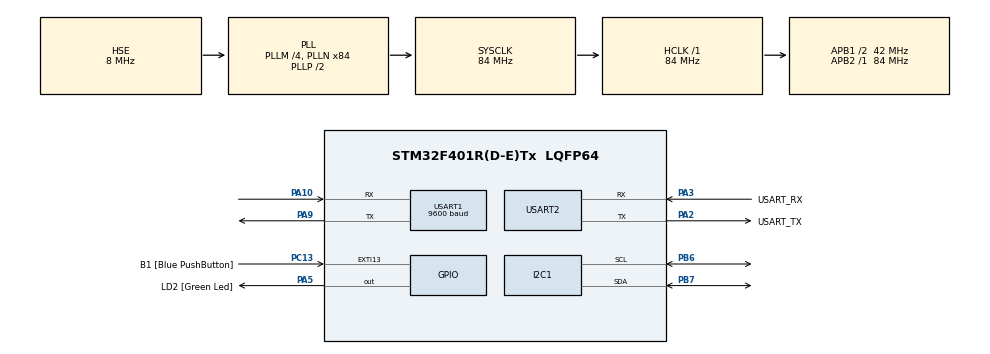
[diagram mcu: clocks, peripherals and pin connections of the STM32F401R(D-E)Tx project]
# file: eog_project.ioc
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Mcu.Family=STM32F4
Mcu.Name=STM32F401R(D-E)Tx
Mcu.Package=LQFP64
NVIC.PriorityGroup=NVIC_PRIORITYGROUP_4
NVIC.USART1_IRQn=true\:0\:0\:false\:false\:true\:true\:true\:true
PA10.Mode=Asynchronous
PA10.Signal=USART1_RX
PA13.GPIO_Label=TMS
PA13.Mode=Trace_Asynchronous_SW
PA13.Signal=SYS_JTMS-SWDIO
PA14.GPIO_Label=TCK
PA14.Mode=Trace_Asynchronous_SW
PA14.Signal=SYS_JTCK-SWCLK
PA2.GPIO_Label=USART_TX
PA2.GPIO_Mode=GPIO_MODE_AF_PP
PA2.GPIO_PuPd=GPIO_NOPULL
PA2.GPIO_Speed=GPIO_SPEED_FREQ_LOW
PA2.Mode=Asynchronous
PA2.Signal=USART2_TX
PA3.GPIO_Label=USART_RX
PA3.GPIO_Mode=GPIO_MODE_AF_PP
PA3.GPIO_PuPd=GPIO_NOPULL
PA3.GPIO_Speed=GPIO_SPEED_FREQ_LOW
PA3.Mode=Asynchronous
PA3.Signal=USART2_RX
PA5.GPIO_Label=LD2 [Green Led]
PA5.GPIO_Mode=GPIO_MODE_OUTPUT_PP
PA5.GPIO_PuPd=GPIO_NOPULL
PA5.GPIO_Speed=GPIO_SPEED_FREQ_LOW
PA5.Signal=GPIO_Output
PA9.Mode=Asynchronous
PA9.Signal=USART1_TX
PB3.GPIO_Label=SWO
PB3.Mode=Trace_Asynchronous_SW
PB3.Signal=SYS_JTDO-SWO
PB6.Mode=I2C
PB6.Signal=I2C1_SCL
PB7.Mode=I2C
PB7.Signal=I2C1_SDA
PC13-ANTI_TAMP.GPIO_Label=B1 [Blue PushButton]
PC13-ANTI_TAMP.GPIO_ModeDefaultEXTI=GPIO_MODE_IT_FALLING
PC13-ANTI_TAMP.GPIO_PuPd=GPIO_NOPULL
PC13-ANTI_TAMP.Signal=GPXTI13
PC14-OSC32_IN.Signal=RCC_OSC32_IN
PC15-OSC32_OUT.Signal=RCC_OSC32_OUT
PH0\ -\ OSC_IN.Mode=HSE-External-Clock-Source
PH0\ -\ OSC_IN.Signal=RCC_OSC_IN
PH1\ -\ OSC_OUT.Mode=HSE-External-Clock-Source
PH1\ -\ OSC_OUT.Signal=RCC_OSC_OUT
ProjectManager.HeapSize=0x200
ProjectManager.StackSize=0x400
ProjectManager.TargetToolchain=STM32CubeIDE
RCC.48MHZClocksFreq_Value=24000000
RCC.AHBFreq_Value=84000000
RCC.APB1CLKDivider=RCC_HCLK_DIV2
RCC.APB1Freq_Value=42000000
RCC.APB1TimFreq_Value=84000000
RCC.APB2Freq_Value=84000000
RCC.APB2TimFreq_Value=84000000
RCC.CortexFreq_Value=84000000
RCC.HCLKFreq_Value=84000000
RCC.HSE_VALUE=8000000
RCC.HSI_VALUE=16000000
RCC.PLLM=4
RCC.PLLN=84
RCC.PLLQ=7
RCC.PLLSourceVirtual=RCC_PLLSOURCE_HSE
RCC.SYSCLKFreq_VALUE=84000000
RCC.SYSCLKSource=RCC_SYSCLKSOURCE_PLLCLK
RCC.VCOOutputFreq_Value=168000000
USART1.BaudRate=9600
USART1.VirtualMode=VM_ASYNC
USART2.VirtualMode=VM_ASYNC
board=NUCLEO-F401RE

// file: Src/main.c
/* USER CODE BEGIN Header */
/**
  ******************************************************************************
  * @file           : main.c
  * @brief          : Main program body
  ******************************************************************************
  * @attention
  *
  * Copyright (c) 2026 STMicroelectronics.
  * All rights reserved.
  *
  * This software is licensed under terms that can be found in the LICENSE file
  * in the root directory of this software component.
  * If no LICENSE file comes with this software, it is provided AS-IS.
  *
  ******************************************************************************
  */
/* USER CODE END Header */
#include "main.h"

/* USER CODE BEGIN Includes */
#include <string.h>
#include <stdio.h>
#include <stdlib.h>
/* USER CODE END Includes */

/* USER CODE BEGIN PD */
#define ADS1115_ADDR     (0x48 << 1)
#define ADS_REG_CONV     0x00
#define ADS_REG_CONFIG   0x01
#define ADS_CONFIG_MSB   0xC3
#define ADS_CONFIG_LSB   0x83
#define ADS_FS_MV        4096.0f
#define CMD_BUF_SIZE     32
#define CMD_IDLE_MS      100
/* USER CODE END PD */

I2C_HandleTypeDef hi2c1;

UART_HandleTypeDef huart1;
UART_HandleTypeDef huart2;

/* USER CODE BEGIN PV */
static uint8_t rxByte;
static char cmdLine[CMD_BUF_SIZE];
static volatile uint8_t rxIdx = 0;
static volatile uint32_t lastRxTick = 0;
static volatile uint8_t cmdReady = 0;
/* USER CODE END PV */

void SystemClock_Config(void);
static void MX_GPIO_Init(void);
static void MX_USART2_UART_Init(void);
static void MX_I2C1_Init(void);
static void MX_USART1_UART_Init(void);
/* USER CODE BEGIN PFP */
static void BT_Send(const char *s);
static HAL_StatusTypeDef ADS1115_Read(int16_t *raw);
static void HandleCommand(const char *cmd);
/* USER CODE END PFP */

/* USER CODE BEGIN 0 */
static void BT_Send(const char *s)
{
  HAL_UART_Transmit(&huart1, (uint8_t*)s, strlen(s), 200);
}

static HAL_StatusTypeDef ADS1115_Read(int16_t *raw)
{
  uint8_t buf[3];
  HAL_StatusTypeDef ret;

  buf[0] = ADS_REG_CONFIG;
  buf[1] = ADS_CONFIG_MSB;
  buf[2] = ADS_CONFIG_LSB;
  ret = HAL_I2C_Master_Transmit(&hi2c1, ADS1115_ADDR, buf, 3, 100);
  if (ret != HAL_OK) return ret;

  HAL_Delay(10);

  buf[0] = ADS_REG_CONV;
  ret = HAL_I2C_Master_Transmit(&hi2c1, ADS1115_ADDR, buf, 1, 100);
  if (ret != HAL_OK) return ret;

  ret = HAL_I2C_Master_Receive(&hi2c1, ADS1115_ADDR, buf, 2, 100);
  if (ret != HAL_OK) return ret;

  *raw = (int16_t)(((uint16_t)buf[0] << 8) | buf[1]);
  return HAL_OK;
}

static void HandleCommand(const char *cmd)
{
  char out[64];
  int16_t raw;
  int32_t mv;

  if (strstr(cmd, "READ") != NULL) {
    if (ADS1115_Read(&raw) == HAL_OK) {
      mv = (int32_t)((float)raw * ADS_FS_MV / 32768.0f);
      snprintf(out, sizeof(out), "%s%ld.%03ld\r\n",
               (mv < 0) ? "-" : "", labs(mv) / 1000, labs(mv) % 1000);
      BT_Send(out);
    } else {
      BT_Send("I2C error\r\n");
    }
  } else {
    BT_Send("?\r\n");
  }
}

void HAL_UART_RxCpltCallback(UART_HandleTypeDef *huart)
{
  if (huart->Instance == USART1) {
    if (rxByte == '\r' || rxByte == '\n') {
      if (rxIdx > 0) {
        cmdLine[rxIdx] = '\0';
        rxIdx = 0;
        cmdReady = 1;
      }
    } else if (rxByte >= ' ' && rxIdx < CMD_BUF_SIZE - 1) {
      cmdLine[rxIdx++] = (char)rxByte;
    }
    lastRxTick = HAL_GetTick();
    HAL_UART_Receive_IT(&huart1, &rxByte, 1);
  }
}

void HAL_UART_ErrorCallback(UART_HandleTypeDef *huart)
{
  if (huart->Instance == USART1) {
    __HAL_UART_CLEAR_OREFLAG(huart);
    rxIdx = 0;
    HAL_UART_Receive_IT(&huart1, &rxByte, 1);
  }
}
/* USER CODE END 0 */

int main(void)
{

  /* USER CODE BEGIN 1 */
	int16_t raw;
	char out[32];
  /* USER CODE END 1 */

  /* MCU Configuration--------------------------------------------------------*/

  /* Reset of all peripherals, Initializes the Flash interface and the Systick. */
  HAL_Init();

  /* Configure the system clock */
  SystemClock_Config();

  /* Initialize all configured peripherals */
  MX_GPIO_Init();
  MX_USART2_UART_Init();
  MX_I2C1_Init();
  MX_USART1_UART_Init();
  /* USER CODE BEGIN 2 */
  HAL_UART_Receive_IT(&huart1, &rxByte, 1);
  BT_Send("Ready\r\n");
  /* USER CODE END 2 */

  /* Infinite loop */
  /* USER CODE BEGIN WHILE */
  while (1)
  {
    __disable_irq();
    if (!cmdReady && rxIdx > 0 && (HAL_GetTick() - lastRxTick) > CMD_IDLE_MS) {
      cmdLine[rxIdx] = '\0';
      rxIdx = 0;
      cmdReady = 1;
    }
    __enable_irq();

    if (cmdReady) {
      cmdReady = 0;
      HandleCommand(cmdLine);
    }

    if (ADS1115_Read(&raw) == HAL_OK) {
    	int32_t mv = (int32_t)((float)raw * ADS_FS_MV / 32768.0f);
    	snprintf(out, sizeof(out), "%ld\r\n", mv);
    	BT_Send(out);
    }

    HAL_Delay(100);

    /* USER CODE END WHILE */

  }
}

void SystemClock_Config(void)
{
  RCC_OscInitTypeDef RCC_OscInitStruct = {0};
  RCC_ClkInitTypeDef RCC_ClkInitStruct = {0};

  /** Configure the main internal regulator output voltage
  */
  __HAL_RCC_PWR_CLK_ENABLE();
  __HAL_PWR_VOLTAGESCALING_CONFIG(PWR_REGULATOR_VOLTAGE_SCALE2);

  /** Initializes the RCC Oscillators according to the specified parameters
  * in the RCC_OscInitTypeDef structure.
  */
  RCC_OscInitStruct.OscillatorType = RCC_OSCILLATORTYPE_HSE;
  RCC_OscInitStruct.HSEState = RCC_HSE_BYPASS;
  RCC_OscInitStruct.PLL.PLLState = RCC_PLL_ON;
  RCC_OscInitStruct.PLL.PLLSource = RCC_PLLSOURCE_HSE;
  RCC_OscInitStruct.PLL.PLLM = 4;
  RCC_OscInitStruct.PLL.PLLN = 84;
  RCC_OscInitStruct.PLL.PLLP = RCC_PLLP_DIV2;
  RCC_OscInitStruct.PLL.PLLQ = 7;
  if (HAL_RCC_OscConfig(&RCC_OscInitStruct) != HAL_OK)
  {
    Error_Handler();
  }

  /** Initializes the CPU, AHB and APB buses clocks
  */
  RCC_ClkInitStruct.ClockType = RCC_CLOCKTYPE_HCLK|RCC_CLOCKTYPE_SYSCLK
                              |RCC_CLOCKTYPE_PCLK1|RCC_CLOCKTYPE_PCLK2;
  RCC_ClkInitStruct.SYSCLKSource = RCC_SYSCLKSOURCE_PLLCLK;
  RCC_ClkInitStruct.AHBCLKDivider = RCC_SYSCLK_DIV1;
  RCC_ClkInitStruct.APB1CLKDivider = RCC_HCLK_DIV2;
  RCC_ClkInitStruct.APB2CLKDivider = RCC_HCLK_DIV1;

  if (HAL_RCC_ClockConfig(&RCC_ClkInitStruct, FLASH_LATENCY_2) != HAL_OK)
  {
    Error_Handler();
  }
}

static void MX_I2C1_Init(void)
{

  hi2c1.Instance = I2C1;
  hi2c1.Init.ClockSpeed = 100000;
  hi2c1.Init.DutyCycle = I2C_DUTYCYCLE_2;
  hi2c1.Init.OwnAddress1 = 0;
  hi2c1.Init.AddressingMode = I2C_ADDRESSINGMODE_7BIT;
  hi2c1.Init.DualAddressMode = I2C_DUALADDRESS_DISABLE;
  hi2c1.Init.OwnAddress2 = 0;
  hi2c1.Init.GeneralCallMode = I2C_GENERALCALL_DISABLE;
  hi2c1.Init.NoStretchMode = I2C_NOSTRETCH_DISABLE;
  if (HAL_I2C_Init(&hi2c1) != HAL_OK)
  {
    Error_Handler();
  }

}

static void MX_USART1_UART_Init(void)
{

  huart1.Instance = USART1;
  huart1.Init.BaudRate = 9600;
  huart1.Init.WordLength = UART_WORDLENGTH_8B;
  huart1.Init.StopBits = UART_STOPBITS_1;
  huart1.Init.Parity = UART_PARITY_NONE;
  huart1.Init.Mode = UART_MODE_TX_RX;
  huart1.Init.HwFlowCtl = UART_HWCONTROL_NONE;
  huart1.Init.OverSampling = UART_OVERSAMPLING_16;
  if (HAL_UART_Init(&huart1) != HAL_OK)
  {
    Error_Handler();
  }

}

static void MX_USART2_UART_Init(void)
{

  huart2.Instance = USART2;
  huart2.Init.BaudRate = 115200;
  huart2.Init.WordLength = UART_WORDLENGTH_8B;
  huart2.Init.StopBits = UART_STOPBITS_1;
  huart2.Init.Parity = UART_PARITY_NONE;
  huart2.Init.Mode = UART_MODE_TX_RX;
  huart2.Init.HwFlowCtl = UART_HWCONTROL_NONE;
  huart2.Init.OverSampling = UART_OVERSAMPLING_16;
  if (HAL_UART_Init(&huart2) != HAL_OK)
  {
    Error_Handler();
  }

}

static void MX_GPIO_Init(void)
{
  GPIO_InitTypeDef GPIO_InitStruct = {0};

  /* GPIO Ports Clock Enable */
  __HAL_RCC_GPIOC_CLK_ENABLE();
  __HAL_RCC_GPIOH_CLK_ENABLE();
  __HAL_RCC_GPIOA_CLK_ENABLE();
  __HAL_RCC_GPIOB_CLK_ENABLE();

  /*Configure GPIO pin Output Level */
  HAL_GPIO_WritePin(LD2_GPIO_Port, LD2_Pin, GPIO_PIN_RESET);

  /*Configure GPIO pin : B1_Pin */
  GPIO_InitStruct.Pin = B1_Pin;
  GPIO_InitStruct.Mode = GPIO_MODE_IT_FALLING;
  GPIO_InitStruct.Pull = GPIO_NOPULL;
  HAL_GPIO_Init(B1_GPIO_Port, &GPIO_InitStruct);

  /*Configure GPIO pin : LD2_Pin */
  GPIO_InitStruct.Pin = LD2_Pin;
  GPIO_InitStruct.Mode = GPIO_MODE_OUTPUT_PP;
  GPIO_InitStruct.Pull = GPIO_NOPULL;
  GPIO_InitStruct.Speed = GPIO_SPEED_FREQ_LOW;
  HAL_GPIO_Init(LD2_GPIO_Port, &GPIO_InitStruct);

}

void Error_Handler(void)
{
  __disable_irq();
  while (1)
  {
  }
}
